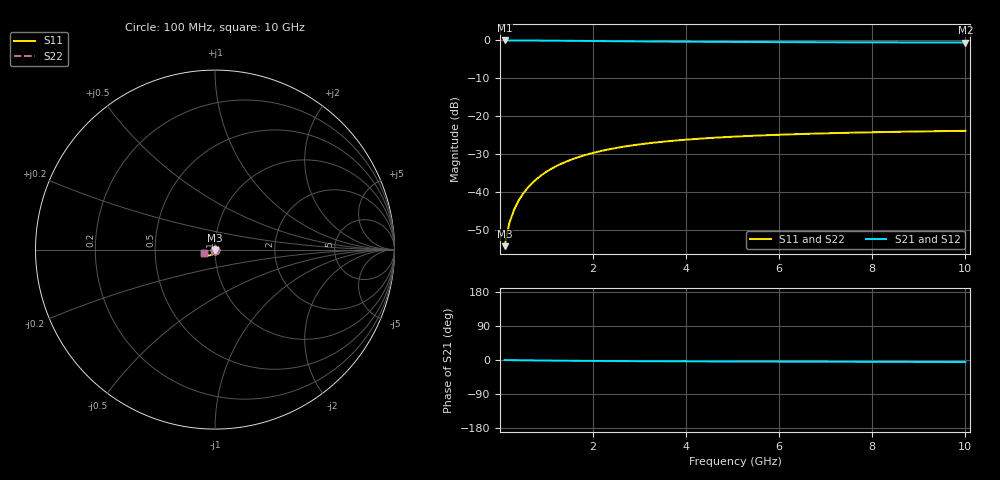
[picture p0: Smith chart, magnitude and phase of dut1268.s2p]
! Touchstone file exported from HFSS 2024.1.0
!  File:  C:/UserFiles/LocalFiles/RDL_TSV_Batchsim/temp_TSV1_1268_1780254168.aedt
!  Generated:  03:08:43 AM Jun  1, 2026
!  Design:  TSV1
!  Project:  temp_TSV1_1268_1780254168
!  Setup:  Setup1
!  Solution:  Sweep
! Variables:
!  dtsv = 14.74um
!  hbump = 3um
!  htsv = 82.03um
!  lrdl = 252.1521522um
!  p = 40
!  p1 = 51.63um
!  t = 500um
!  trdl = 3um
!  wrdl = 24.89489489um
# GHz S MA R 50.000000
! Terminal data exported
! Port[1] = TSV22_T1
! Port[2] = TSV22_T2
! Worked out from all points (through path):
!   100 points, 100 MHz to 10 GHz, reference 50 ohm
!   highest |S21| = 0.00 dB at 100 MHz (marker M1); lowest = -0.5 dB at 10 GHz (marker M2)
!   lowest |S11| = -54.3 dB at 100 MHz (marker M3), VSWR 1.00, Z = 50 - j0.192 ohm
!   |S11| at or under -10 dB: start of sweep to end of sweep
!   |S22| runs from -54.3 to -23.9 dB; largest |S21 - S12| = 2.6e-15
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0.1  0.001921 -89.3  0.9999 -0.2  0.9999 -0.2  0.001921 -89.3
! Gamma 0 0 0 0
! Port Impedance 50 0 50 0
0.2  0.003842 -92.2  0.9997 -0.3  0.9997 -0.3  0.003842 -92.2
0.3  0.005759 -94.3  0.9993 -0.5  0.9993 -0.5  0.005759 -94.3
0.4  0.007663 -96.3  0.9989 -0.6  0.9989 -0.6  0.007663 -96.3
0.5  0.009547 -98.1  0.9984 -0.8  0.9984 -0.8  0.009547 -98.1
0.6  0.0114 -100.0  0.9977 -0.9  0.9977 -0.9  0.0114 -100.0
0.7  0.01323 -101.8  0.997 -1.0  0.997 -1.0  0.01323 -101.8
0.8  0.01501 -103.5  0.9962 -1.2  0.9962 -1.2  0.01501 -103.5
0.9  0.01675 -105.2  0.9953 -1.3  0.9953 -1.3  0.01675 -105.2
1.1  0.02011 -108.5  0.9934 -1.6  0.9934 -1.6  0.02011 -108.5
1.4  0.02477 -113.2  0.9901 -1.9  0.9901 -1.9  0.02477 -113.2
1.6  0.02763 -116.1  0.9878 -2.1  0.9878 -2.1  0.02763 -116.1
1.8  0.03028 -118.8  0.9854 -2.3  0.9854 -2.3  0.03028 -118.8
2.1  0.03389 -122.6  0.9818 -2.5  0.9818 -2.5  0.03389 -122.6
2.5  0.03808 -127.1  0.9772 -2.8  0.9772 -2.8  0.03808 -127.1
2.9  0.04163 -131.1  0.9729 -3.1  0.9729 -3.1  0.04163 -131.1
3.4  0.04535 -135.4  0.968 -3.3  0.968 -3.3  0.04535 -135.4
4.2  0.05001 -141.2  0.9615 -3.6  0.9615 -3.6  0.05001 -141.2
5.1  0.05392 -146.3  0.9555 -4.0  0.9555 -4.0  0.05392 -146.3
6.7  0.0587 -153.3  0.9479 -4.4  0.9479 -4.4  0.0587 -153.3
8.4  0.06197 -158.8  0.9425 -4.9  0.9425 -4.9  0.06197 -158.8
10  0.06405 -162.8  0.9389 -5.4  0.9389 -5.4  0.06405 -162.8
